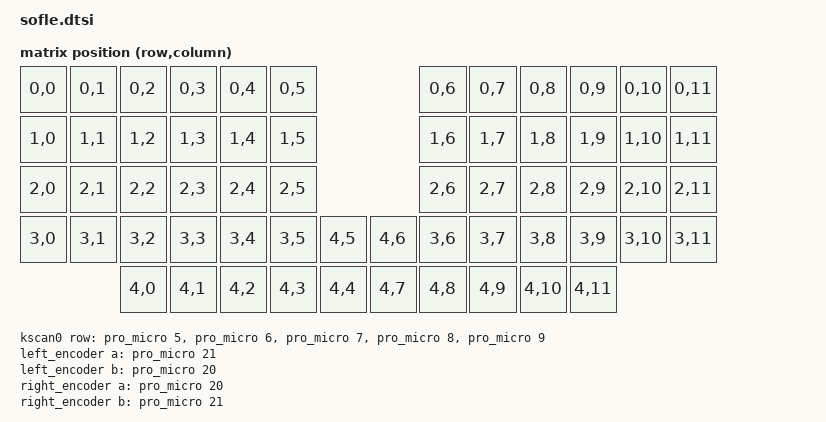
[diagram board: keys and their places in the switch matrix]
/*
 * Copyright (c) 2020 Pete Johanson, Ryan Cross
 *
 * SPDX-License-Identifier: MIT
 */

#include <dt-bindings/zmk/matrix_transform.h>
#include "sofle-layouts.dtsi"
#include <dt-bindings/led/led.h>

/ {
    chosen {
        zephyr,display = &oled;
        zmk,kscan = &kscan0;
	zmk,physical-layout = &layout_0;
    };

    default_transform: keymap_transform_0 {
        compatible = "zmk,matrix-transform";
        columns = <16>;
        rows = <5>;
// | SW6  | SW5  | SW4  | SW3  | SW2  | SW1  |                 | SW1  | SW2  | SW3  | SW4  | SW5  | SW6  |
// | SW12 | SW11 | SW10 | SW9  | SW8  | SW7  |                 | SW7  | SW8  | SW9  | SW10 | SW11 | SW12 |
// | SW18 | SW17 | SW16 | SW15 | SW14 | SW13 |                 | SW13 | SW14 | SW15 | SW16 | SW17 | SW18 |
// | SW24 | SW23 | SW22 | SW21 | SW20 | SW19 | SW25 |   | SW25 | SW19 | SW20 | SW21 | SW22 | SW23 | SW24 |
//               | SW30 | SW29 | SW28 | SW27 | SW26 |   | SW26 | SW27 | SW28 | SW29 | SW30 |
        map = <
RC(0,0) RC(0,1) RC(0,2) RC(0,3) RC(0,4) RC(0,5)                 RC(0,6) RC(0,7) RC(0,8)  RC(0,9) RC(0,10) RC(0,11)
RC(1,0) RC(1,1) RC(1,2) RC(1,3) RC(1,4) RC(1,5)                 RC(1,6) RC(1,7) RC(1,8)  RC(1,9) RC(1,10) RC(1,11)
RC(2,0) RC(2,1) RC(2,2) RC(2,3) RC(2,4) RC(2,5)                 RC(2,6) RC(2,7) RC(2,8)  RC(2,9) RC(2,10) RC(2,11)
RC(3,0) RC(3,1) RC(3,2) RC(3,3) RC(3,4) RC(3,5) RC(4,5) RC(4,6) RC(3,6) RC(3,7) RC(3,8)  RC(3,9) RC(3,10) RC(3,11)
                RC(4,0) RC(4,1) RC(4,2) RC(4,3) RC(4,4) RC(4,7) RC(4,8) RC(4,9) RC(4,10) RC(4,11)
        >;
    };

    kscan0: kscan {
        compatible = "zmk,kscan-gpio-matrix";
        wakeup-source;

        diode-direction = "col2row";
        row-gpios
            = <&pro_micro 5 (GPIO_ACTIVE_HIGH | GPIO_PULL_DOWN)>
            , <&pro_micro 6 (GPIO_ACTIVE_HIGH | GPIO_PULL_DOWN)>
            , <&pro_micro 7 (GPIO_ACTIVE_HIGH | GPIO_PULL_DOWN)>
            , <&pro_micro 8 (GPIO_ACTIVE_HIGH | GPIO_PULL_DOWN)>
            , <&pro_micro 9 (GPIO_ACTIVE_HIGH | GPIO_PULL_DOWN)>
            ;
    };

    left_encoder: encoder_left {
        compatible = "alps,ec11";
        a-gpios = <&pro_micro 21 (GPIO_ACTIVE_HIGH | GPIO_PULL_UP)>;
        b-gpios = <&pro_micro 20 (GPIO_ACTIVE_HIGH | GPIO_PULL_UP)>;
        steps = <80>;
        status = "disabled";
    };

    right_encoder: encoder_right {
        compatible = "alps,ec11";
        a-gpios = <&pro_micro 20 (GPIO_ACTIVE_HIGH | GPIO_PULL_UP)>;
        b-gpios = <&pro_micro 21 (GPIO_ACTIVE_HIGH | GPIO_PULL_UP)>;
        steps = <80>;
        status = "disabled";
    };

    sensors: sensors {
        compatible = "zmk,keymap-sensors";
        sensors = <&left_encoder &right_encoder>;
        triggers-per-rotation = <20>;
    };
};

// oled,I2c
&pinctrl {
       i2c0_default: i2c0_default {
               group1 {
                       psels = <NRF_PSEL(TWIM_SDA, 0, 17)>,
                               <NRF_PSEL(TWIM_SCL, 0, 20)>;
               };
       };

       i2c0_sleep: i2c0_sleep {
               group1 {
                       psels = <NRF_PSEL(TWIM_SDA, 0, 17)>,
                               <NRF_PSEL(TWIM_SCL, 0, 20)>;
                       low-power-enable;
               };
       };
};


&pro_micro_i2c {
    status = "okay";

    oled: ssd1306@3c {
        compatible = "solomon,ssd1306fb";
        reg = <0x3c>;
        width = <128>;
        height = <32>;
        segment-offset = <0>;
        page-offset = <0>;
        display-offset = <0>;
        multiplex-ratio = <31>;
        segment-remap;
        com-invdir;
        com-sequential;
        inversion-on;
        prechargep = <0x22>;
    };
};
// rgb,SPI
&pinctrl {
    spi3_default: spi3_default {
        group1 {
            psels = <NRF_PSEL(SPIM_MOSI, 0, 6)>;
        };
    };

    spi3_sleep: spi3_sleep {
        group1 {
            psels = <NRF_PSEL(SPIM_MOSI, 0, 6)>;
            low-power-enable;
		};
	};
};

&spi3 {
	compatible = "nordic,nrf-spim";
	status = "okay";

	pinctrl-0 = <&spi3_default>;
	pinctrl-1 = <&spi3_sleep>;
	pinctrl-names = "default", "sleep";


	led_strip: ws2812@0 {
		compatible = "worldsemi,ws2812-spi";
		label = "WS2812";

		/* SPI */
		reg = <0>; /* ignored, but necessary for SPI bindings */
		spi-max-frequency = <4000000>;

		/* WS2812 */
		chain-length = <36>; /* There are per-key RGB, but the first 6 are underglow */
		spi-one-frame = <0x70>;
		spi-zero-frame = <0x40>;
		color-mapping = <LED_COLOR_ID_GREEN LED_COLOR_ID_RED LED_COLOR_ID_BLUE>;
	};
};

/ {
	chosen {
		zmk,underglow = &led_strip;
        /*zmk,backlight = &led_strip;*/
	};
};
